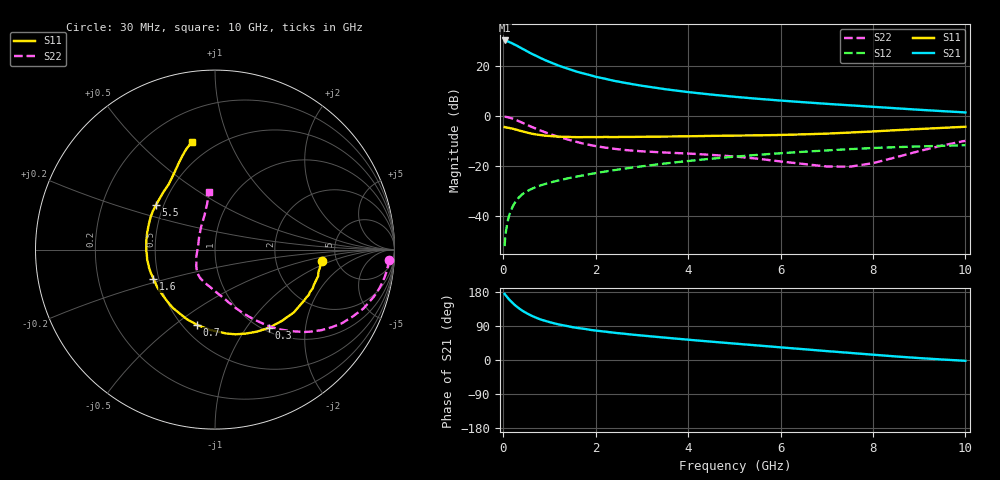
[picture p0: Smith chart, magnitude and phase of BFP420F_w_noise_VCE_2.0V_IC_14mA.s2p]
! Infineon Technologies  Discrete & RF Semiconductors
! BFP420F
! VCE =  2.0 V,  IC =  14 mA
! Common Emitter S-Parameters:  Sep 2011
# GHz  S  MA  R  50
!  f  S11  S21  S12  S22
! GHz  MAG  ANG  MAG  ANG  MAG  ANG  MAG  ANG
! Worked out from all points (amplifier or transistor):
!   54 points, 30 MHz to 10 GHz, reference 50 ohm
!   highest |S21| = 30.3 dB at 30 MHz (marker M1)
!   |S21| within 3 dB of that: start of sweep to 384 MHz
!   unconditionally stable (mu >= 1): 1.856 GHz to end of sweep
!   at 120 MHz: K = 0.19, MSG = 35.0 dB, |S12| = -40.3 dB
!   at 1.3 GHz: K = 0.84, MSG = 22.4 dB, |S12| = -25.3 dB
!   at 10 GHz: K = 1.26, MAG = 3.5 dB, |S12| = -11.6 dB
!   lowest NFmin = 1.34 dB at 450 MHz
!   S11 on the Smith chart (normalised r, x): 30 MHz: 3.85, -0.78; 300 MHz: 1.06, -1.29; 700 MHz: 0.59, -0.61; 1.6 GHz: 0.47, -0.18; 5.5 GHz: 0.45, +0.27; 10 GHz: 0.38, +0.73
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0.03  0.6014 -6.2  32.6 174.4  0.0025 92.1  0.9691 -3.3
0.05  0.5931 -9.5  32.12 170.9  0.0042 84.5  0.9671 -5.7
0.07  0.5931 -14.5  32.02 168.4  0.0056 85.5  0.9614 -8.0
0.1  0.5845 -20.0  31.37 163.7  0.0081 82.9  0.9488 -11.4
0.15  0.5722 -29.6  29.8 156.9  0.0117 78.9  0.9218 -16.7
0.2  0.5615 -38.6  28.35 151.0  0.0152 75.4  0.8901 -21.6
0.3  0.5296 -55.3  25.48 140.2  0.0215 69.9  0.8188 -30.0
0.4  0.4985 -69.8  22.64 131.3  0.0266 65.9  0.7461 -36.9
0.5  0.4717 -82.3  20.17 124.0  0.0309 62.8  0.6783 -42.6
0.6  0.448 -93.7  18 117.6  0.0345 60.5  0.6167 -47.4
0.7  0.431 -103.4  16.23 112.2  0.0379 59.0  0.5656 -51.5
0.9  0.4061 -119.5  13.25 103.6  0.0437 57.3  0.4776 -58.1
1.1  0.3929 -132.1  11.14 96.8  0.049 56.4  0.4111 -63.8
1.3  0.3846 -142.3  9.498 91.5  0.0542 56.1  0.3608 -68.7
1.6  0.3796 -154.6  7.702 84.7  0.0619 55.9  0.3028 -75.7
1.7  0.3795 -157.9  7.269 83.1  0.0645 55.9  0.2867 -77.8
2.4  0.3808 -175.6  5.077 71.9  0.0829 54.9  0.222 -93.2
3.5  0.3896 166.0  3.46 59.0  0.1126 51.9  0.1867 -111.5
5.5  0.412 143.1  2.224 38.4  0.1676 41.8  0.1408 -137.7
7  0.4461 125.3  1.76 23.5  0.2058 32.7  0.0982 -177.2
8.5  0.523 112.7  1.433 9.3  0.2394 22.3  0.1503 120.7
10  0.6122 102.3  1.184 -2.1  0.2616 13.3  0.3209 96.0
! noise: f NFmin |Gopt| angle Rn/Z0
0.45  1.34  0.08  173  0.11
0.9  1.34  0.09  161  0.13
1.9  1.47  0.19  177  0.19
2.4  1.53  0.19  -180  0.12
3.5  1.78  0.24  -164  0.17
